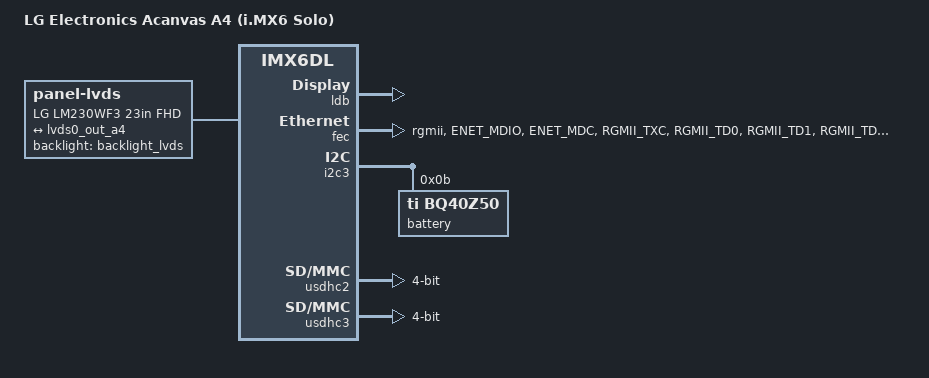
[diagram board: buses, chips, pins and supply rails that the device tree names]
// SPDX-License-Identifier: (GPL-2.0-only OR MIT)
//
// LG Electronics "Acanvas A4" board (i.MX6 Solo, 1 GiB, 8 GB eMMC,
// 23" 1920x1080 dual-channel LVDS panel LG LM230WF3, Intel 3160 PCIe Wi-Fi).
// The vendor 3.10 device tree is a lightly modified i.MX6DL SABRE-SD tree,
// so this file reuses imx6qdl-sabresd.dtsi and only overrides the differences.

/dts-v1/;

#include "imx6dl.dtsi"
#include "imx6qdl-sabresd.dtsi"

/ {
	model = "LG Electronics Acanvas A4 (i.MX6 Solo)";
	compatible = "lge,imx6dl-a4", "fsl,imx6dl-sabresd", "fsl,imx6dl";

	/* SABRE-SD parts that do not exist on the A4 */
	sound {
		status = "disabled";
	};

	regulator-audio {
		status = "disabled";
	};

	leds {
		status = "disabled";
	};

	gpio-keys {
		key-volume-up {
			status = "disabled";
		};

		key-volume-down {
			status = "disabled";
		};
	};

	/*
	 * Replace the SABRE-SD Hannstar XGA panel with the A4 panel.
	 * Timings copied from the vendor DTB (lvds-channel display-timings):
	 * 143.616 MHz, 1920x1080, hbp/hfp 96, hsync 64, vbp/vfp 8, vsync 4.
	 * Vendor tree: "spwg", 24 bit, split (dual-channel) mode.
	 */
	panel {
		compatible = "panel-lvds";
		label = "LG LM230WF3 23in FHD";
		width-mm = <509>;
		height-mm = <286>;
		data-mapping = "vesa-24";
		backlight = <&backlight_lvds>;
		/* frame hangs in portrait: panel content rotated 90 deg counter-clockwise */
		rotation = <90>;

		panel-timing {
			/* 2176 x 1100 x 60.00 Hz = 143.616 MHz, the vendor DTB value (143.5 MHz gave 59.95 Hz) */
			clock-frequency = <143616000>;
			hactive = <1920>;
			vactive = <1080>;
			hback-porch = <96>;
			hfront-porch = <96>;
			hsync-len = <64>;
			vback-porch = <8>;
			vfront-porch = <8>;
			vsync-len = <4>;
		};

		port {
			panel_in: endpoint {
				remote-endpoint = <&lvds0_out_a4>;
			};
		};
	};
};

/* Backlight as the vendor DTB: pwm1 @ 5 ms, 256 brightness steps (0-255), full at boot. The SABRE-SD table has only
 * 8 steps; interpolating 255 steps between 0 and 255 gives the identity table 0..255 (pwm_bl num_levels = 1*255+1). */
&backlight_lvds {
	brightness-levels = <0 255>;
	num-interpolated-steps = <255>;
	default-brightness-level = <255>;
};

/* The physical power button is wired to gpio-keys only (EIM_D29); the SNVS power-key input is not connected on the
 * A4, and the vendor DTB has no snvs-powerkey node. Disabling it removes the empty second KEY_POWER evdev device. */
&snvs_pwrkey {
	status = "disabled";
};

/* 1080p dual-channel LVDS needs the video PLL, not PLL3 (480 MHz) */
&clks {
	assigned-clocks = <&clks IMX6QDL_CLK_LDB_DI0_SEL>,
			  <&clks IMX6QDL_CLK_LDB_DI1_SEL>;
	assigned-clock-parents = <&clks IMX6QDL_CLK_PLL5_VIDEO_DIV>,
				 <&clks IMX6QDL_CLK_PLL5_VIDEO_DIV>;
};

&ldb {
	fsl,dual-channel;
	status = "okay";

	lvds-channel@0 {
		fsl,data-mapping = "spwg";
		fsl,data-width = <24>;
		status = "okay";

		port@4 {
			reg = <4>;

			lvds0_out_a4: endpoint {
				remote-endpoint = <&panel_in>;
			};
		};
	};

	/* SABRE-SD drives its panel from channel 1; the A4 uses channel 0 + split mode */
	lvds-channel@1 {
		status = "disabled";
		/delete-node/ port@4;
	};
};

/*
 * On-board Ethernet exactly as the vendor DTB has it: RGMII on the stock pad group, no PHY node (the PHY sits on the
 * optional flex-cable port module and is found by MDIO scan). Without the module the controller registers but the
 * open fails with "no PHY found" — same as the vendor kernel's "Phy not found".
 */
&fec {
	pinctrl-names = "default";
	pinctrl-0 = <&pinctrl_enet_a4>;
	phy-mode = "rgmii";
	/delete-property/ phy-handle;
	/delete-property/ fsl,magic-packet;
	status = "okay";
	/delete-node/ mdio;
};

/* Sensor rail (EIM_EB3 -> GPIO2_31) as the vendor DTB: on at boot with its 500 us start-up delay, so the ambient light
 * sensor (isl29023 @0x44), accelerometer (mma8451 @0x1c) and magnetometer (mag3110 @0x0e) are powered when probed. */
&reg_sensors {
	regulator-always-on;
	regulator-boot-on;
	startup-delay-us = <500>;
};

&iomuxc {
	/* vendor enetgrp-1: every pad 0x1b0b0 (sabresd uses 0x1b030 on the RGMII data pads) */
	pinctrl_enet_a4: enetgrp-a4 {
		fsl,pins = <
			MX6QDL_PAD_ENET_MDIO__ENET_MDIO		0x1b0b0
			MX6QDL_PAD_ENET_MDC__ENET_MDC		0x1b0b0
			MX6QDL_PAD_RGMII_TXC__RGMII_TXC		0x1b0b0
			MX6QDL_PAD_RGMII_TD0__RGMII_TD0		0x1b0b0
			MX6QDL_PAD_RGMII_TD1__RGMII_TD1		0x1b0b0
			MX6QDL_PAD_RGMII_TD2__RGMII_TD2		0x1b0b0
			MX6QDL_PAD_RGMII_TD3__RGMII_TD3		0x1b0b0
			MX6QDL_PAD_RGMII_TX_CTL__RGMII_TX_CTL	0x1b0b0
			MX6QDL_PAD_ENET_REF_CLK__ENET_TX_CLK	0x1b0b0
			MX6QDL_PAD_RGMII_RXC__RGMII_RXC		0x1b0b0
			MX6QDL_PAD_RGMII_RD0__RGMII_RD0		0x1b0b0
			MX6QDL_PAD_RGMII_RD1__RGMII_RD1		0x1b0b0
			MX6QDL_PAD_RGMII_RD2__RGMII_RD2		0x1b0b0
			MX6QDL_PAD_RGMII_RD3__RGMII_RD3		0x1b0b0
			MX6QDL_PAD_RGMII_RX_CTL__RGMII_RX_CTL	0x1b0b0
			MX6QDL_PAD_GPIO_16__ENET_REF_CLK	0x4001b0a8
		>;
	};
};

/* Not brought up on first boot; the vendor recovery DTB keeps HDMI disabled too */
&hdmi {
	status = "disabled";
};

&mipi_csi {
	status = "disabled";
};

&audmux {
	status = "disabled";
};

&ssi2 {
	status = "disabled";
};

&i2c1 {
	wm8962@1a {
		status = "disabled";
	};
};

&i2c2 {
	touchscreen@4 {
		status = "disabled";
	};

	camera@3c {
		status = "disabled";
	};
};

&i2c3 {
	egalax_ts@4 {
		status = "disabled";
	};

	/* Smart battery pack (BATTERY connector), from the vendor DTB */
	battery@b {
		compatible = "ti,bq40z50", "sbs,sbs-battery";
		reg = <0x0b>;
		sbs,i2c-retry-count = <10>;
	};
};

/*
 * GPIO line names from the vendor DTB and board photos. The kernel does not
 * drive the motor/charger lines; a user-space daemon can use them via libgpiod
 * (gpiochip0 = gpio1 ... gpiochip6 = gpio7).
 *   charger (MAX8903, no CEN line so the mainline driver is not used):
 *     DOK = gpio2 24 (DC-in OK, active low), UOK = gpio1 27 (USB-in OK),
 *     CHG = gpio3 23 (charging, active low), FLT = gpio5 2 (fault, active low)
 *   motor (charging puck lift), per the stock a4-powerd "rev3 motor board" note:
 *     gpio1 0 = MOTOR_EN, gpio1 4 = MOTOR_UP, gpio1 5 = MOTOR_DOWN, gpio1 8 = MOTOR_OK,
 *     gpio1 9 = +12V_DETECT; per the vendor A4OS 177 a4-powerd:
 *     gpio4 10 = reel UP limit, gpio4 15 = reel DOWN limit (both read 0 when reached),
 *     and 177 used the charger CHG line (gpio3 23) as its "charger present" input
 */
&gpio1 {
	gpio-line-names =
		"motor_ctl_gpio1_0", "", "gpio_2_hog", "", "motor_ctl_gpio1_4",
		"motor_ctl_gpio1_5", "", "", "motor_ctl_gpio1_8", "gpio_9_hog",
		"", "", "", "", "", "", "", "", "accel_int", "",
		"", "", "", "", "", "", "", "charger_uok", "", "usb_h1_vbus_en",
		"", "";
};

&gpio2 {
	gpio-line-names =
		"sd3_cd", "sd3_wp", "sd2_cd", "sd2_wp", "", "", "", "", "", "",
		"", "", "", "", "", "", "", "", "eim_a20_hog", "",
		"eim_a18_hog", "eim_a17_hog", "", "", "charger_dok", "eim_oe_hog", "", "", "", "",
		"", "sensor_supply_en";
};

&gpio3 {
	gpio-line-names =
		"", "", "", "", "", "", "", "", "eim_da8_hog", "light_int",
		"", "", "", "", "", "", "mag_int", "eim_d17_hog", "", "pcie_pwr_en",
		"eim_d20_hog", "", "usb_otg_vbus_en", "charger_chg", "", "", "eim_d26_hog", "", "eim_d28_pullup_in", "power_key",
		"", "";
};

&gpio4 {
	gpio-line-names =
		"", "", "", "", "", "", "", "", "", "spi_flash_cs",
		"motor_ctl_gpio4_10", "", "", "", "", "motor_ctl_gpio4_15", "", "", "", "",
		"", "", "", "", "", "", "", "", "", "",
		"", "";
};

&gpio5 {
	gpio-line-names =
		"", "", "charger_flt", "", "", "", "", "", "", "",
		"", "", "", "", "", "", "", "", "", "",
		"", "", "", "", "", "", "", "", "", "",
		"", "";
};

/* Vendor tree: SD2/SD3 are 4-bit, 3.3 V only; all three hosts keep their power in suspend (vendor DTB) */
&usdhc2 {
	bus-width = <4>;
	no-1-8-v;
	keep-power-in-suspend;
};

&usdhc3 {
	bus-width = <4>;
	no-1-8-v;
	keep-power-in-suspend;
};

&usdhc4 {
	keep-power-in-suspend;
};

&pinctrl_gpio_keys {
	fsl,pins = <
		MX6QDL_PAD_EIM_D29__GPIO3_IO29		0x1b0b0
	>;
};

/*
 * GPIO hog as the vendor 3.10 DTB muxes it (hoggrp-1 + hoggrp-2 + motor_ctl),
 * minus the pins that imx6qdl-sabresd.dtsi already muxes in per-device groups
 * (EIM_EB3 sensors regulator, GPIO_1 WDOG2_B, EIM_D29 power key, SD1_CMD /
 * EIM_DA9 / EIM_D16 sensor interrupts). 0x80000000 = leave the pad control
 * register untouched, i.e. keep whatever the boot ROM/U-Boot configured.
 */
&pinctrl_hog {
	fsl,pins = <
		MX6QDL_PAD_NANDF_D0__GPIO2_IO00		0x80000000
		MX6QDL_PAD_NANDF_D1__GPIO2_IO01		0x80000000
		MX6QDL_PAD_NANDF_D2__GPIO2_IO02		0x80000000
		MX6QDL_PAD_NANDF_D3__GPIO2_IO03		0x80000000
		MX6QDL_PAD_NANDF_ALE__GPIO6_IO08	0x80000000
		MX6QDL_PAD_NANDF_CLE__GPIO6_IO07	0x80000000
		MX6QDL_PAD_NANDF_CS2__GPIO6_IO15	0x80000000
		MX6QDL_PAD_NANDF_CS3__GPIO6_IO16	0x80000000
		MX6QDL_PAD_EIM_D26__GPIO3_IO26		0x80000000
		MX6QDL_PAD_EIM_CS1__GPIO2_IO24		0x80000000
		MX6QDL_PAD_ENET_RXD0__GPIO1_IO27	0x80000000
		MX6QDL_PAD_EIM_A25__GPIO5_IO02		0x80000000
		MX6QDL_PAD_EIM_D23__GPIO3_IO23		0x80000000
		MX6QDL_PAD_ENET_TXD1__GPIO1_IO29	0x80000000
		MX6QDL_PAD_EIM_D22__GPIO3_IO22		0x80000000
		MX6QDL_PAD_NANDF_CS0__GPIO6_IO11	0x80000000
		MX6QDL_PAD_NANDF_CS1__GPIO6_IO14	0x80000000
		/*
		 * Motor UP/DOWN request lines (active low, see a4-puckd). 100k pull-up + keeper so the lines read
		 * "inactive" whenever nothing drives them: at a daemon restart and during shutdown (after a4-puckd is
		 * killed, before the PMIC cuts power) the floating lines made the reel wind or unwind on its own
		 * (2026-10-07 unwind at restart, 2026-10-10 full wind during power-off). 0x1b0b0 = HYS, PUS 100k up,
		 * PUE, PKE, 40 ohm, slow slew (same value the SABRE-SD uses on these pads).
		 */
		MX6QDL_PAD_GPIO_4__GPIO1_IO04		0x1b0b0
		MX6QDL_PAD_GPIO_5__GPIO1_IO05		0x1b0b0
		MX6QDL_PAD_SD3_RST__GPIO7_IO08		0x80000000
		MX6QDL_PAD_GPIO_9__GPIO1_IO09		0x80000000
		MX6QDL_PAD_GPIO_2__GPIO1_IO02		0x80000000
		/* hoggrp-2 */
		MX6QDL_PAD_EIM_A17__GPIO2_IO21		0x80000000
		MX6QDL_PAD_EIM_D17__GPIO3_IO17		0x80000000
		MX6QDL_PAD_EIM_D20__GPIO3_IO20		0x80000000
		MX6QDL_PAD_EIM_A18__GPIO2_IO20		0x80000000
		MX6QDL_PAD_EIM_OE__GPIO2_IO25		0x80000000
		MX6QDL_PAD_EIM_A20__GPIO2_IO18		0x80000000
		MX6QDL_PAD_EIM_DA8__GPIO3_IO08		0x80000000
		MX6QDL_PAD_EIM_D28__GPIO3_IO28		0x170b0
		/* motor_ctl */
		MX6QDL_PAD_KEY_COL2__GPIO4_IO10		0x80000000
		MX6QDL_PAD_KEY_ROW4__GPIO4_IO15		0x80000000
		MX6QDL_PAD_GPIO_0__GPIO1_IO00		0x80000000
		MX6QDL_PAD_GPIO_8__GPIO1_IO08		0x80000000
	>;
};

/*
 * Power button: the physical button reaches the kernel through gpio-keys only (2026-10-07 evdev probe: snvs-powerkey
 * never reports it), so the SNVS 5 s hard power-off does not apply to it. `power-off-time-sec` in &snvs_pwrkey was tried
 * (kernel 22:37 build) and LPCR BTN_PRESS_TIME stayed at 5 s on this i.MX6DL — the field is not writable here — so it is
 * not set. The button policy lives in user space (the hotkey daemon of the Debian userland).
 */
